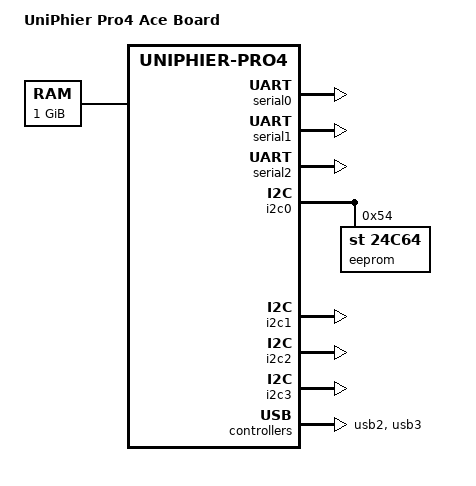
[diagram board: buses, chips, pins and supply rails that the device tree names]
/*
 * Device Tree Source for UniPhier Pro4 Ace Board
 *
 * Copyright (C) 2016 Socionext Inc.
 *   Author: Masahiro Yamada <yamada.masahiro@socionext.com>
 *
 * SPDX-License-Identifier: (GPL-2.0+ OR MIT)
 */

/dts-v1/;
#include "uniphier-pro4.dtsi"

/ {
	model = "UniPhier Pro4 Ace Board";
	compatible = "socionext,uniphier-pro4-ace", "socionext,uniphier-pro4";

	chosen {
		stdout-path = "serial0:115200n8";
	};

	aliases {
		serial0 = &serial0;
		serial1 = &serial1;
		serial2 = &serial2;
		i2c0 = &i2c0;
		i2c1 = &i2c1;
		i2c2 = &i2c2;
		i2c3 = &i2c3;
		i2c5 = &i2c5;
		i2c6 = &i2c6;
	};

	memory@80000000 {
		device_type = "memory";
		reg = <0x80000000 0x40000000>;
	};
};

&serial0 {
	status = "okay";
};

&serial1 {
	status = "okay";
};

&serial2 {
	status = "okay";
};

&i2c0 {
	status = "okay";

	eeprom@54 {
		compatible = "st,24c64", "atmel,24c64";
		reg = <0x54>;
		pagesize = <32>;
	};
};

&i2c1 {
	status = "okay";
};

&i2c2 {
	status = "okay";
};

&i2c3 {
	status = "okay";
};

&usb2 {
	status = "okay";
};

&usb3 {
	status = "okay";
};
